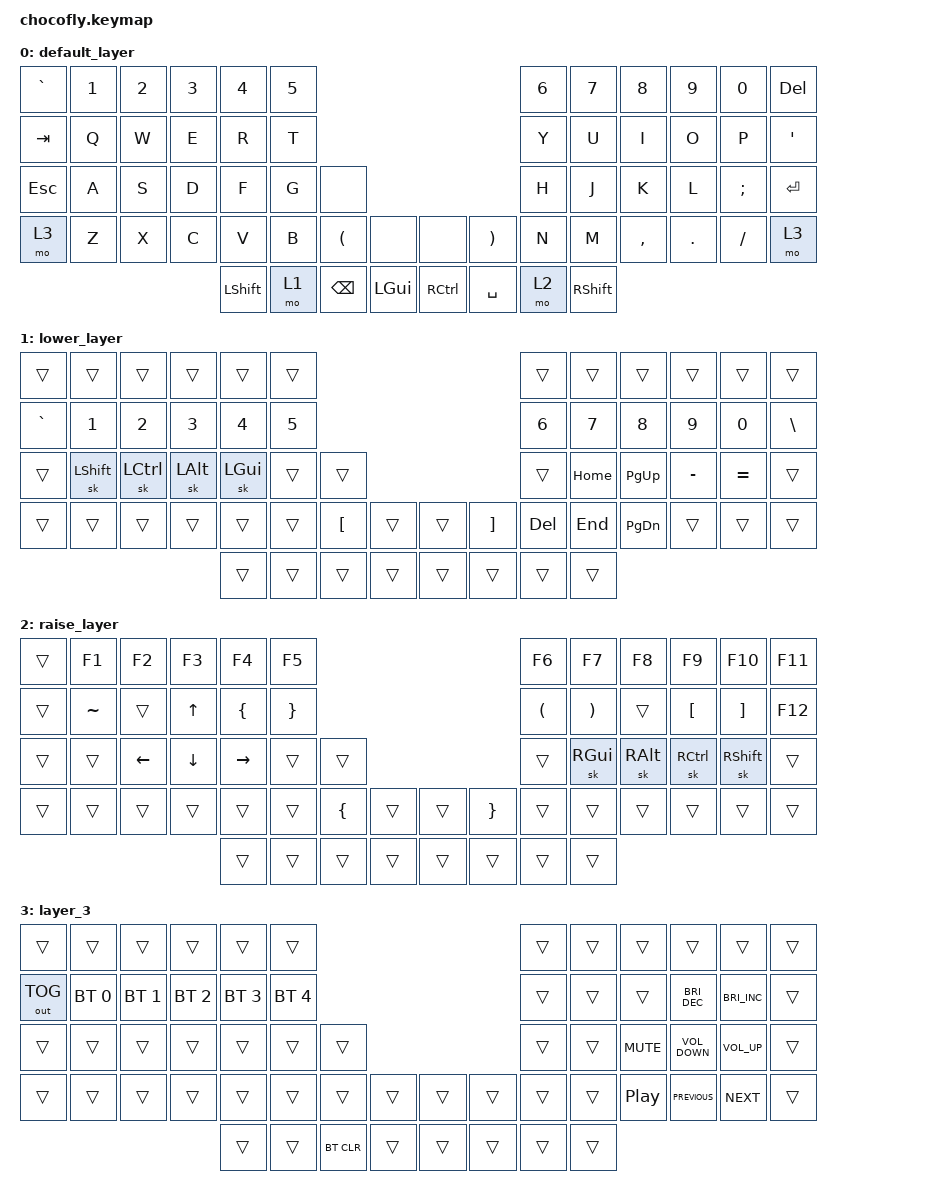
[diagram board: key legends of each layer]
#include <behaviors.dtsi>
#include <dt-bindings/zmk/bt.h>
#include <dt-bindings/zmk/keys.h>
#include <dt-bindings/zmk/outputs.h>

/ {
    combos {
        compatible = "zmk,combos";

        cap_word {
            bindings = <&caps_word>;
            key-positions = <60 53>;
            layers = <0>;
        };

        l_par {
            bindings = <&kp LEFT_PARENTHESIS>;
            key-positions = <17 29>;
            layers = <0>;
        };

        r_par {
            bindings = <&kp RIGHT_PARENTHESIS>;
            key-positions = <18 31>;
            layers = <0>;
        };

        l_br {
            bindings = <&kp LEFT_BRACKET>;
            key-positions = <16 28>;
            layers = <0>;
        };

        r_br {
            bindings = <&kp RIGHT_BRACKET>;
            key-positions = <19 32>;
            layers = <0>;
        };
    };

    keymap {
        compatible = "zmk,keymap";

        default_layer {
            bindings = <
&kp GRAVE   &kp NUMBER_1  &kp NUMBER_2  &kp NUMBER_3  &kp NUMBER_4    &kp N5                                                                                &kp NUMBER_6  &kp N7           &kp N8     &kp N9   &kp N0    &kp DELETE
&kp TAB     &kp Q         &kp W         &kp E         &kp R           &kp T                                                                                 &kp Y         &kp U            &kp I      &kp O    &kp P     &kp SINGLE_QUOTE
&kp ESCAPE  &kp A         &kp S         &kp D         &kp F           &kp G   &none                                                                         &kp H         &kp J            &kp K      &kp L    &kp SEMI  &kp ENTER
&mo 3       &kp Z         &kp X         &kp C         &kp V           &kp B   &kp LEFT_PARENTHESIS  &none         &none              &kp RIGHT_PARENTHESIS  &kp N         &kp M            &kp COMMA  &kp DOT  &kp FSLH  &mo 3
                                                      &kp LEFT_SHIFT  &mo 1   &kp BACKSPACE         &kp LEFT_GUI  &kp RIGHT_CONTROL  &kp SPACE              &mo 2         &kp RIGHT_SHIFT
            >;
        };

        lower_layer {
            bindings = <
&trans     &trans          &trans            &trans        &trans        &trans                                                       &trans      &trans    &trans         &trans     &trans     &trans
&kp GRAVE  &kp N1          &kp N2            &kp N3        &kp N4        &kp N5                                                       &kp N6      &kp N7    &kp N8         &kp N9     &kp N0     &kp BACKSLASH
&trans     &sk LEFT_SHIFT  &sk LEFT_CONTROL  &sk LEFT_ALT  &sk LEFT_GUI  &trans  &trans                                               &trans      &kp HOME  &kp PAGE_UP    &kp MINUS  &kp EQUAL  &trans
&trans     &trans          &trans            &trans        &trans        &trans  &kp LEFT_BRACKET  &trans  &trans  &kp RIGHT_BRACKET  &kp DELETE  &kp END   &kp PAGE_DOWN  &trans     &trans     &trans
                                                           &trans        &trans  &trans            &trans  &trans  &trans             &trans      &trans
            >;
        };

        raise_layer {
            bindings = <
&trans  &kp F1     &kp F2          &kp F3          &kp F4           &kp F5                                                            &kp F6                &kp F7                 &kp F8         &kp F9             &kp F10            &kp F11
&trans  &kp TILDE  &trans          &kp UP_ARROW    &kp LEFT_BRACE   &kp RIGHT_BRACE                                                   &kp LEFT_PARENTHESIS  &kp RIGHT_PARENTHESIS  &trans         &kp LEFT_BRACKET   &kp RIGHT_BRACKET  &kp F12
&trans  &trans     &kp LEFT_ARROW  &kp DOWN_ARROW  &kp RIGHT_ARROW  &trans           &trans                                           &trans                &sk RIGHT_GUI          &sk RIGHT_ALT  &sk RIGHT_CONTROL  &sk RIGHT_SHIFT    &trans
&trans  &trans     &trans          &trans          &trans           &trans           &kp LEFT_BRACE  &trans  &trans  &kp RIGHT_BRACE  &trans                &trans                 &trans         &trans             &trans             &trans
                                                   &trans           &trans           &trans          &trans  &trans  &trans           &trans                &trans
            >;
        };

        layer_3 {
            bindings = <
&trans        &trans        &trans        &trans        &trans        &trans                                            &trans  &trans  &trans            &trans                &trans                &trans
&out OUT_TOG  &bt BT_SEL 0  &bt BT_SEL 1  &bt BT_SEL 2  &bt BT_SEL 3  &bt BT_SEL 4                                      &trans  &trans  &trans            &kp C_BRIGHTNESS_DEC  &kp C_BRIGHTNESS_INC  &trans
&trans        &trans        &trans        &trans        &trans        &trans        &trans                              &trans  &trans  &kp K_MUTE        &kp C_VOLUME_DOWN     &kp C_VOLUME_UP       &trans
&trans        &trans        &trans        &trans        &trans        &trans        &trans      &trans  &trans  &trans  &trans  &trans  &kp C_PLAY_PAUSE  &kp C_PREVIOUS        &kp C_NEXT            &trans
                                                        &trans        &trans        &bt BT_CLR  &trans  &trans  &trans  &trans  &trans
            >;
        };
    };
};
